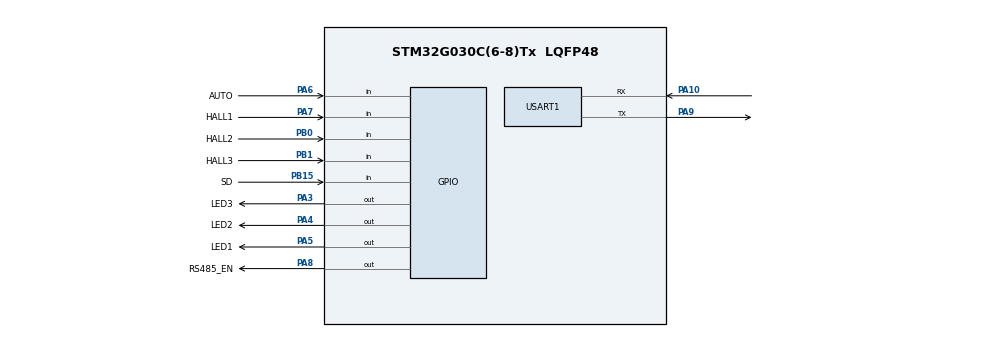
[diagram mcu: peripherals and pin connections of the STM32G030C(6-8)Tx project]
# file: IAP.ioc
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FREERTOS.Tasks01=defaultTask,-2,64,StartDefaultTask,Default,NULL,Dynamic,NULL,NULL;SystemTask,0,128,StartSystemTask,As external,NULL,Dynamic,NULL,NULL
FREERTOS.configMINIMAL_STACK_SIZE=64
FREERTOS.configTOTAL_HEAP_SIZE=3300
Mcu.Family=STM32G0
Mcu.Name=STM32G030C(6-8)Tx
Mcu.Package=LQFP48
NVIC.FLASH_IRQn=true\:3\:0\:false\:false\:true\:true\:true\:true
NVIC.RCC_IRQn=true\:3\:0\:false\:false\:true\:true\:true\:false
NVIC.USART1_IRQn=true\:3\:0\:false\:false\:true\:true\:true\:true
PA10.Mode=Asynchronous
PA10.Signal=USART1_RX
PA13.Mode=Serial_Wire
PA13.Signal=SYS_SWDIO
PA14-BOOT0.Mode=Serial_Wire
PA14-BOOT0.Signal=SYS_SWCLK
PA3.GPIO_Label=LED3
PA3.Signal=GPIO_Output
PA4.GPIO_Label=LED2
PA4.Signal=GPIO_Output
PA5.GPIO_Label=LED1
PA5.Signal=GPIO_Output
PA6.GPIO_Label=AUTO
PA6.Signal=GPIO_Input
PA7.GPIO_Label=HALL1
PA7.Signal=GPIO_Input
PA8.GPIO_Label=RS485_EN
PA8.Signal=GPIO_Output
PA9.Mode=Asynchronous
PA9.Signal=USART1_TX
PB0.GPIO_Label=HALL2
PB0.Signal=GPIO_Input
PB1.GPIO_Label=HALL3
PB1.Signal=GPIO_Input
PB15.GPIO_Label=SD
PB15.Signal=GPIO_Input
ProjectManager.HeapSize=0x200
ProjectManager.StackSize=0x400
ProjectManager.TargetToolchain=MDK-ARM V5.32
RCC.ADCFreq_Value=64000000
RCC.AHBFreq_Value=64000000
RCC.CortexFreq_Value=64000000
RCC.EXTERNAL_CLOCK_VALUE=12288000
RCC.HCLKFreq_Value=64000000
RCC.HSE_VALUE=8000000
RCC.HSI_VALUE=16000000
RCC.LSE_VALUE=32768
RCC.SYSCLKFreq_VALUE=64000000
RCC.SYSCLKSource=RCC_SYSCLKSOURCE_PLLCLK
RCC.VCOOutputFreq_Value=128000000
USART1.VirtualMode-Asynchronous=VM_ASYNC
VP_FREERTOS_VS_CMSIS_V1.Mode=CMSIS_V1
VP_IWDG_VS_IWDG.Mode=IWDG_Activate
VP_RTC_VS_RTC_Activate.Mode=RTC_Enabled
board=custom

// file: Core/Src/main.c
/* USER CODE BEGIN Header */
/**
  ******************************************************************************
  * @file           : main.c
  * @brief          : Main program body
  ******************************************************************************
  * @attention
  *
  * <h2><center>&copy; Copyright (c) 2021 STMicroelectronics.
  * All rights reserved.</center></h2>
  *
  * This software component is licensed by ST under BSD 3-Clause license,
  * the "License"; You may not use this file except in compliance with the
  * License. You may obtain a copy of the License at:
  *                        opensource.org/licenses/BSD-3-Clause
  *
  ******************************************************************************
  */
/* USER CODE END Header */
#include "main.h"

/* USER CODE BEGIN Includes */
#include <stdio.h>
#include <string.h>
#include "common.h"
#include "test.h"
#ifdef BLT
#include "bootloader.h"
#else
#include "cmsis_os.h"
#endif
/* USER CODE END Includes */

/* USER CODE BEGIN PM */
#ifdef BLT
#else
/* USER CODE END PM */

osThreadId defaultTaskHandle;
osThreadId SystemTaskHandle;
/* USER CODE BEGIN PV */
#endif

/* USER CODE END PV */

void SystemClock_Config(void);
static void MX_GPIO_Init(void);
static void MX_USART1_UART_Init(void);
static void MX_RTC_Init(void);
static void MX_IWDG_Init(void);
void StartDefaultTask(void const * argument);
extern void StartSystemTask(void const * argument);

/* USER CODE BEGIN 0 */
#ifndef BLT
void StartSystemTask(void const * argument)
{
  /* USER CODE BEGIN StartSystemTask */
  char buf[50];
  static uint32_t rcnt = 0;
  /* Infinite loop */
  for(;;)
  {
    rcnt++;
    #ifdef APP1
    osDelay(1000);
    uart_tx_str("App1 Mark\r\n",15);
    if(rcnt>5)
    {
        sprintf(buf, "\r\nAPP1:%x,%x,%x,%x,%x\r\n\r\n",Mark_Get(bkp_app1_addr),Mark_Get(bkp_app2_addr),Mark_Get(bkp_app1_mark),Mark_Get(bkp_app2_mark),Mark_Get(bkp_boot_mark));
        uart_tx_str((uint8_t *)buf,strlen((char *)buf));
        Mark_Set(bkp_app1_addr,0);
        Mark_Set(bkp_app1_mark,0);
        Mark_Set(bkp_app2_mark,0);
        Mark_Set(bkp_app2_addr,USER_APP2_ADDRESS);
        osDelay(10);
        sysReset();
    }
    #endif
    #ifdef APP2
    osDelay(1000);
    uart_tx_str("app2 test\r\n",15);
    if(rcnt>5)
    {
        sprintf((char *)buf, "APP2:%x,%x,%x,%x,%x\r\n",Mark_Get(bkp_app1_addr),Mark_Get(bkp_app2_addr),Mark_Get(bkp_app1_mark),Mark_Get(bkp_app2_mark),Mark_Get(bkp_boot_mark));
        uart_tx_str((uint8_t *)buf,strlen((char *)buf));
        Mark_Set(bkp_app1_addr,USER_APP1_ADDRESS);
        Mark_Set(bkp_app2_addr,0);
        Mark_Set(bkp_app2_mark,0);
        Mark_Set(bkp_app1_mark,0);
        osDelay(10);
        sysReset();
    }
    #endif
  }
}
#endif
/* USER CODE END 0 */

int main(void)
{

  /* MCU Configuration--------------------------------------------------------*/

  /* Reset of all peripherals, Initializes the Flash interface and the Systick. */
  HAL_Init();

  /* Configure the system clock */
  SystemClock_Config();

  /* Initialize all configured peripherals */
  MX_GPIO_Init();
  MX_USART1_UART_Init();
  MX_RTC_Init();
  MX_IWDG_Init();
  /* USER CODE BEGIN 2 */

//  uint32_t rcnt = 0;
#ifdef BLT
	char buf[50];
	bootinit();
//	appjump(USER_APP2_ADDRESS);
	memset((char *)buf,0,sizeof(buf));
//  uint16_t *uuid = (uint16_t *) UID_BASE;
  sprintf((char *)buf, "[%d]BLT:%x-%x,%x-%x,%d\r\n",test(),Mark_Get(bkp_app1_addr),Mark_Get(bkp_app2_addr),Mark_Get(bkp_app1_mark),Mark_Get(bkp_app2_mark),flash_size);
  uart_tx_str((uint8_t *)buf,strlen((char *)buf));
#else
//	SCB->VTOR = USER_APP2_ADDRESS;
//	appjump(USER_APP2_ADDRESS);
	char buf[50];
  sprintf((char *)buf, "APP:%x-%x,%x-%x\r\n",Mark_Get(bkp_app1_addr),Mark_Get(bkp_app2_addr),Mark_Get(bkp_app1_mark),Mark_Get(bkp_app2_mark));
  uart_tx_str((uint8_t *)buf,strlen((char *)buf));

	// feed_dog();

    // FlashTestWR();
  /* USER CODE END 2 */

  /* Create the thread(s) */
  /* definition and creation of defaultTask */
  osThreadDef(defaultTask, StartDefaultTask, osPriorityLow, 0, 64);
  defaultTaskHandle = osThreadCreate(osThread(defaultTask), NULL);

  /* definition and creation of SystemTask */
  osThreadDef(SystemTask, StartSystemTask, osPriorityNormal, 0, 128);
  SystemTaskHandle = osThreadCreate(osThread(SystemTask), NULL);

  /* Start scheduler */
  osKernelStart();

  /* We should never get here as control is now taken by the scheduler */
  /* Infinite loop */
  /* USER CODE BEGIN WHILE */
#endif
	uint32_t rcnt = 0;
  while (1)
  {
    /* USER CODE END WHILE */

    /* USER CODE BEGIN 3 */
    rcnt++;
    LL_mDelay(0);
    feed_dog();
#ifdef BLT
		bootloop();
    if(rcnt%3000==0)
    {
      feed_dog();
			memset((char *)buf,0,sizeof(buf));
			sprintf((char *)buf, "\r\nBKP:%x-%x,%x-%x,%x\r\n",Mark_Get(bkp_app1_addr),Mark_Get(bkp_app2_addr),Mark_Get(bkp_app1_mark),Mark_Get(bkp_app2_mark),Mark_Get(bkp_boot_mark));
      uart_tx_str((uint8_t *)buf,strlen((char *)buf));
    }
#endif
  }
  /* USER CODE END 3 */
}

void SystemClock_Config(void)
{
  LL_FLASH_SetLatency(LL_FLASH_LATENCY_2);
  while(LL_FLASH_GetLatency() != LL_FLASH_LATENCY_2)
  {
  }

  /* HSI configuration and activation */
  LL_RCC_HSI_Enable();
  while(LL_RCC_HSI_IsReady() != 1)
  {
  }

  /* LSI configuration and activation */
  LL_RCC_LSI_Enable();
  while(LL_RCC_LSI_IsReady() != 1)
  {
  }

  LL_PWR_EnableBkUpAccess();
  if(LL_RCC_GetRTCClockSource() != LL_RCC_RTC_CLKSOURCE_LSI)
  {
    LL_RCC_ForceBackupDomainReset();
    LL_RCC_ReleaseBackupDomainReset();
    LL_RCC_SetRTCClockSource(LL_RCC_RTC_CLKSOURCE_LSI);
  }
  /* Main PLL configuration and activation */
  LL_RCC_PLL_ConfigDomain_SYS(LL_RCC_PLLSOURCE_HSI, LL_RCC_PLLM_DIV_1, 8, LL_RCC_PLLR_DIV_2);
  LL_RCC_PLL_Enable();
  LL_RCC_PLL_EnableDomain_SYS();
  while(LL_RCC_PLL_IsReady() != 1)
  {
  }

  /* Set AHB prescaler*/
  LL_RCC_SetAHBPrescaler(LL_RCC_SYSCLK_DIV_1);

  /* Sysclk activation on the main PLL */
  LL_RCC_SetSysClkSource(LL_RCC_SYS_CLKSOURCE_PLL);
  while(LL_RCC_GetSysClkSource() != LL_RCC_SYS_CLKSOURCE_STATUS_PLL)
  {
  }

  /* Set APB1 prescaler*/
  LL_RCC_SetAPB1Prescaler(LL_RCC_APB1_DIV_1);
  /* Update CMSIS variable (which can be updated also through SystemCoreClockUpdate function) */
  LL_SetSystemCoreClock(64000000);

   /* Update the time base */
  if (HAL_InitTick (TICK_INT_PRIORITY) != HAL_OK)
  {
    Error_Handler();
  }
  LL_RCC_EnableRTC();
  LL_RCC_SetUSARTClockSource(LL_RCC_USART1_CLKSOURCE_PCLK1);
}

static void MX_IWDG_Init(void)
{

  LL_IWDG_Enable(IWDG);
  LL_IWDG_EnableWriteAccess(IWDG);
  LL_IWDG_SetPrescaler(IWDG, LL_IWDG_PRESCALER_4);
  LL_IWDG_SetReloadCounter(IWDG, 4095);
  while (LL_IWDG_IsReady(IWDG) != 1)
  {
  }

  LL_IWDG_ReloadCounter(IWDG);

}

static void MX_RTC_Init(void)
{

  LL_RTC_InitTypeDef RTC_InitStruct = {0};

  /* Peripheral clock enable */
  LL_RCC_EnableRTC();
  LL_APB1_GRP1_EnableClock(LL_APB1_GRP1_PERIPH_RTC);

  RTC_InitStruct.HourFormat = LL_RTC_HOURFORMAT_24HOUR;
  RTC_InitStruct.AsynchPrescaler = 127;
  RTC_InitStruct.SynchPrescaler = 255;
  LL_RTC_Init(RTC, &RTC_InitStruct);

}

static void MX_USART1_UART_Init(void)
{

  LL_USART_InitTypeDef USART_InitStruct = {0};

  LL_GPIO_InitTypeDef GPIO_InitStruct = {0};

  /* Peripheral clock enable */
  LL_APB2_GRP1_EnableClock(LL_APB2_GRP1_PERIPH_USART1);

  LL_IOP_GRP1_EnableClock(LL_IOP_GRP1_PERIPH_GPIOA);
  /**USART1 GPIO Configuration
  PA9   ------> USART1_TX
  PA10   ------> USART1_RX
  */
  GPIO_InitStruct.Pin = LL_GPIO_PIN_9;
  GPIO_InitStruct.Mode = LL_GPIO_MODE_ALTERNATE;
  GPIO_InitStruct.Speed = LL_GPIO_SPEED_FREQ_LOW;
  GPIO_InitStruct.OutputType = LL_GPIO_OUTPUT_PUSHPULL;
  GPIO_InitStruct.Pull = LL_GPIO_PULL_NO;
  GPIO_InitStruct.Alternate = LL_GPIO_AF_1;
  LL_GPIO_Init(GPIOA, &GPIO_InitStruct);

  GPIO_InitStruct.Pin = LL_GPIO_PIN_10;
  GPIO_InitStruct.Mode = LL_GPIO_MODE_ALTERNATE;
  GPIO_InitStruct.Speed = LL_GPIO_SPEED_FREQ_LOW;
  GPIO_InitStruct.OutputType = LL_GPIO_OUTPUT_PUSHPULL;
  GPIO_InitStruct.Pull = LL_GPIO_PULL_NO;
  GPIO_InitStruct.Alternate = LL_GPIO_AF_1;
  LL_GPIO_Init(GPIOA, &GPIO_InitStruct);

  /* USART1 interrupt Init */
  NVIC_SetPriority(USART1_IRQn, 3);
  NVIC_EnableIRQ(USART1_IRQn);

  USART_InitStruct.PrescalerValue = LL_USART_PRESCALER_DIV1;
  USART_InitStruct.BaudRate = 115200;
  USART_InitStruct.DataWidth = LL_USART_DATAWIDTH_8B;
  USART_InitStruct.StopBits = LL_USART_STOPBITS_1;
  USART_InitStruct.Parity = LL_USART_PARITY_NONE;
  USART_InitStruct.TransferDirection = LL_USART_DIRECTION_TX_RX;
  USART_InitStruct.HardwareFlowControl = LL_USART_HWCONTROL_NONE;
  USART_InitStruct.OverSampling = LL_USART_OVERSAMPLING_16;
  LL_USART_Init(USART1, &USART_InitStruct);
  LL_USART_SetTXFIFOThreshold(USART1, LL_USART_FIFOTHRESHOLD_1_8);
  LL_USART_SetRXFIFOThreshold(USART1, LL_USART_FIFOTHRESHOLD_1_8);
  LL_USART_DisableFIFO(USART1);
  LL_USART_ConfigAsyncMode(USART1);

  LL_USART_Enable(USART1);

  /* Polling USART1 initialisation */
  while((!(LL_USART_IsActiveFlag_TEACK(USART1))) || (!(LL_USART_IsActiveFlag_REACK(USART1))))
  {
  }

}

static void MX_GPIO_Init(void)
{
  LL_GPIO_InitTypeDef GPIO_InitStruct = {0};

  /* GPIO Ports Clock Enable */
  LL_IOP_GRP1_EnableClock(LL_IOP_GRP1_PERIPH_GPIOA);
  LL_IOP_GRP1_EnableClock(LL_IOP_GRP1_PERIPH_GPIOB);

  /**/
  LL_GPIO_ResetOutputPin(LED3_GPIO_Port, LED3_Pin);

  /**/
  LL_GPIO_ResetOutputPin(LED2_GPIO_Port, LED2_Pin);

  /**/
  LL_GPIO_ResetOutputPin(LED1_GPIO_Port, LED1_Pin);

  /**/
  LL_GPIO_ResetOutputPin(RS485_EN_GPIO_Port, RS485_EN_Pin);

  /**/
  GPIO_InitStruct.Pin = LED3_Pin;
  GPIO_InitStruct.Mode = LL_GPIO_MODE_OUTPUT;
  GPIO_InitStruct.Speed = LL_GPIO_SPEED_FREQ_LOW;
  GPIO_InitStruct.OutputType = LL_GPIO_OUTPUT_PUSHPULL;
  GPIO_InitStruct.Pull = LL_GPIO_PULL_NO;
  LL_GPIO_Init(LED3_GPIO_Port, &GPIO_InitStruct);

  /**/
  GPIO_InitStruct.Pin = LED2_Pin;
  GPIO_InitStruct.Mode = LL_GPIO_MODE_OUTPUT;
  GPIO_InitStruct.Speed = LL_GPIO_SPEED_FREQ_LOW;
  GPIO_InitStruct.OutputType = LL_GPIO_OUTPUT_PUSHPULL;
  GPIO_InitStruct.Pull = LL_GPIO_PULL_NO;
  LL_GPIO_Init(LED2_GPIO_Port, &GPIO_InitStruct);

  /**/
  GPIO_InitStruct.Pin = LED1_Pin;
  GPIO_InitStruct.Mode = LL_GPIO_MODE_OUTPUT;
  GPIO_InitStruct.Speed = LL_GPIO_SPEED_FREQ_LOW;
  GPIO_InitStruct.OutputType = LL_GPIO_OUTPUT_PUSHPULL;
  GPIO_InitStruct.Pull = LL_GPIO_PULL_NO;
  LL_GPIO_Init(LED1_GPIO_Port, &GPIO_InitStruct);

  /**/
  GPIO_InitStruct.Pin = AUTO_Pin;
  GPIO_InitStruct.Mode = LL_GPIO_MODE_INPUT;
  GPIO_InitStruct.Pull = LL_GPIO_PULL_NO;
  LL_GPIO_Init(AUTO_GPIO_Port, &GPIO_InitStruct);

  /**/
  GPIO_InitStruct.Pin = HALL1_Pin;
  GPIO_InitStruct.Mode = LL_GPIO_MODE_INPUT;
  GPIO_InitStruct.Pull = LL_GPIO_PULL_NO;
  LL_GPIO_Init(HALL1_GPIO_Port, &GPIO_InitStruct);

  /**/
  GPIO_InitStruct.Pin = HALL2_Pin;
  GPIO_InitStruct.Mode = LL_GPIO_MODE_INPUT;
  GPIO_InitStruct.Pull = LL_GPIO_PULL_NO;
  LL_GPIO_Init(HALL2_GPIO_Port, &GPIO_InitStruct);

  /**/
  GPIO_InitStruct.Pin = HALL3_Pin;
  GPIO_InitStruct.Mode = LL_GPIO_MODE_INPUT;
  GPIO_InitStruct.Pull = LL_GPIO_PULL_NO;
  LL_GPIO_Init(HALL3_GPIO_Port, &GPIO_InitStruct);

  /**/
  GPIO_InitStruct.Pin = SD_Pin;
  GPIO_InitStruct.Mode = LL_GPIO_MODE_INPUT;
  GPIO_InitStruct.Pull = LL_GPIO_PULL_NO;
  LL_GPIO_Init(SD_GPIO_Port, &GPIO_InitStruct);

  /**/
  GPIO_InitStruct.Pin = RS485_EN_Pin;
  GPIO_InitStruct.Mode = LL_GPIO_MODE_OUTPUT;
  GPIO_InitStruct.Speed = LL_GPIO_SPEED_FREQ_LOW;
  GPIO_InitStruct.OutputType = LL_GPIO_OUTPUT_PUSHPULL;
  GPIO_InitStruct.Pull = LL_GPIO_PULL_NO;
  LL_GPIO_Init(RS485_EN_GPIO_Port, &GPIO_InitStruct);

}

void StartDefaultTask(void const * argument)
{
  /* USER CODE BEGIN 5 */
  #ifndef BLT
  /* Infinite loop */
  for(;;)
  {
    osDelay(100);
    feed_dog();
  }
  #endif
  /* USER CODE END 5 */
}

void Error_Handler(void)
{
  __disable_irq();
  while (1)
  {
  }
}

/************************ (C) COPYRIGHT STMicroelectronics *****END OF FILE****/
